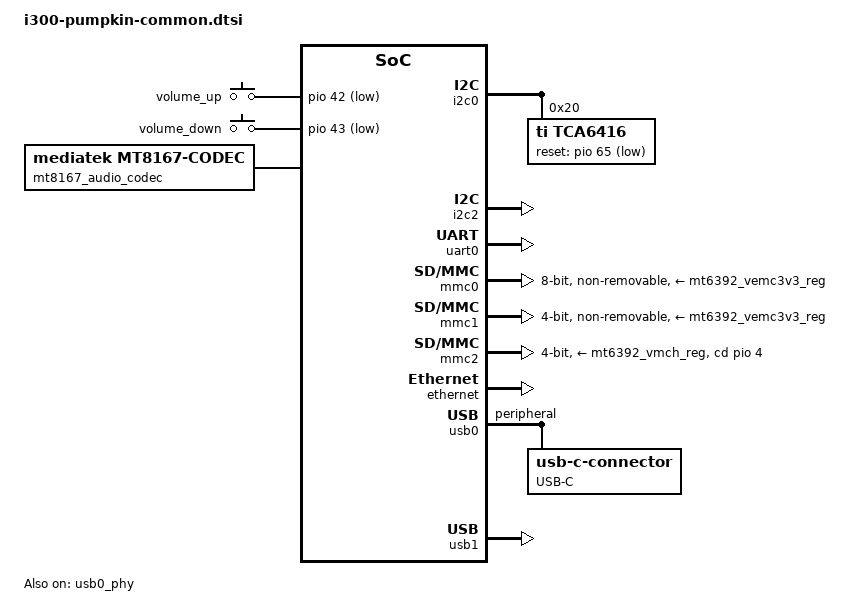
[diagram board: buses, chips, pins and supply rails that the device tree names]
// SPDX-License-Identifier: GPL-2.0
/*
 * Copyright (c) 2019 BayLibre, SAS.
 * Author: Fabien Parent <fparent@baylibre.com>
 */

#include <dt-bindings/gpio/gpio.h>

#include "mt6392.dtsi"

/ {
	aliases {
		ethernet0 = &ethernet;
		ethernet1 = &wifi;
		ethernet2 = &bluetooth;
		serial0 = &uart0;
	};

	chosen {
		stdout-path = "serial0:921600n8";
	};

	firmware {
		optee {
			compatible = "linaro,optee-tz";
			method = "smc";
		};
	};

	gpio-keys {
		compatible = "gpio-keys";
		input-name = "gpio-keys";
		pinctrl-names = "default";
		pinctrl-0 = <&gpio_keys_default>;

		volume-up {
			gpios = <&pio 42 GPIO_ACTIVE_LOW>;
			label = "volume_up";
			linux,code = <115>;
			wakeup-source;
			debounce-interval = <15>;
		};

		volume-down {
			gpios = <&pio 43 GPIO_ACTIVE_LOW>;
			label = "volume_down";
			linux,code = <114>;
			wakeup-source;
			debounce-interval = <15>;
		};
	};


	mt8167_audio_codec: mt8167_audio_codec {
		compatible = "mediatek,mt8167-codec";
		clocks = <&topckgen CLK_TOP_AUDIO>;
		clock-names = "bus";
		mediatek,afe-regmap = <&afe>;
		mediatek,apmixedsys-regmap = <&apmixedsys>;
		mediatek,pwrap-regmap = <&pwrap>;
		mediatek,speaker-mode = <0>; /* 0(CLASSD) 1(CLASSAB) */
		mediatek,dmic-wire-mode = <1>; /* 0(ONE_WIRE) 1(TWO_WIRE) */
		#sound-dai-cells = <0>;
	};

	sound: sound {
		compatible = "mediatek,mt8516-soc-pumpkin";
		mediatek,platform = <&afe>;
		status = "okay";
		dai-link-0 {
			sound-dai = <&afe>;
			dai-link-name = "MTK Codec";

			codec-0 {
				sound-dai = <&mt8167_audio_codec>;
			};
		};

		dai-link-1 {
			sound-dai = <&afe>;
			dai-link-name = "DMIC BE";

			codec-0 {
				sound-dai = <&mt8167_audio_codec>;
			};
		};
	};
};

&cpu0 {
	proc-supply = <&mt6392_vproc_reg>;
};

&cpu1 {
	proc-supply = <&mt6392_vproc_reg>;
};

&cpu2 {
	proc-supply = <&mt6392_vproc_reg>;
};

&cpu3 {
	proc-supply = <&mt6392_vproc_reg>;
};

&i2c0 {
	clock-div = <2>;
	pinctrl-names = "default";
	pinctrl-0 = <&i2c0_pins_a>;
	status = "okay";

	tca6416: gpio@20 {
		compatible = "ti,tca6416";
		reg = <0x20>;
		reset-gpios = <&pio 65 GPIO_ACTIVE_LOW>;
		pinctrl-names = "default";
		pinctrl-0 = <&tca6416_pins>;

		gpio-controller;
		#gpio-cells = <2>;

		eint20_mux_sel0 {
			gpio-hog;
			gpios = <0 0>;
			input;
			line-name = "eint20_mux_sel0";
		};

		expcon_mux_sel1 {
			gpio-hog;
			gpios = <1 0>;
			input;
			line-name = "expcon_mux_sel1";
		};

		mrg_di_mux_sel2 {
			gpio-hog;
			gpios = <2 0>;
			input;
			line-name = "mrg_di_mux_sel2";
		};

		sd_sdio_mux_sel3 {
			gpio-hog;
			gpios = <3 0>;
			input;
			line-name = "sd_sdio_mux_sel3";
		};

		sd_sdio_mux_ctrl7 {
			gpio-hog;
			gpios = <7 0>;
			output-low;
			line-name = "sd_sdio_mux_ctrl7";
		};

		hw_id0 {
			gpio-hog;
			gpios = <8 0>;
			input;
			line-name = "hw_id0";
		};

		hw_id1 {
			gpio-hog;
			gpios = <9 0>;
			input;
			line-name = "hw_id1";
		};

		hw_id2 {
			gpio-hog;
			gpios = <10 0>;
			input;
			line-name = "hw_id2";
		};

		fg_int_n {
			gpio-hog;
			gpios = <11 0>;
			input;
			line-name = "fg_int_n";
		};

		usba_pwr_en {
			gpio-hog;
			gpios = <12 0>;
			output-high;
			line-name = "usba_pwr_en";
		};

		wifi_3v3_pg {
			gpio-hog;
			gpios = <13 0>;
			input;
			line-name = "wifi_3v3_pg";
		};

		cam_rst {
			gpios = <14 0>;
			output-low;
			line-name = "cam_rst";
		};

		cam_pwdn {
			gpios = <15 0>;
			output-low;
			line-name = "cam_pwdn";
		};
	};
};

&i2c2 {
	clock-div = <2>;
	pinctrl-names = "default";
	pinctrl-0 = <&i2c2_pins_a>;
	status = "okay";
};

&mt6392_pmic {
	interrupt-parent = <&pio>;
	interrupts = <28 IRQ_TYPE_LEVEL_HIGH>;
	interrupt-controller;
	#interrupt-cells = <2>;
};

&uart0 {
	status = "okay";
};

&pio {
	pinctrl-names = "default";
	pinctrl-0 = <&state_default>;

	state_default:pinconf_default {
	};

	gpio_keys_default: gpiodefault {
		pins_cmd_dat {
			pinmux = <MT8516_PIN_42_KPCOL0__FUNC_GPIO42>,
				 <MT8516_PIN_43_KPCOL1__FUNC_GPIO43>;
			bias-pull-up;
			input-enable;
		};
	};

	i2c0_pins_a: i2c0@0 {
		pins1 {
			pinmux = <MT8516_PIN_58_SDA0__FUNC_SDA0_0>,
				 <MT8516_PIN_59_SCL0__FUNC_SCL0_0>;
			bias-disable;
		};
	};


	tca6416_pins: pinmux_tca6416_pins {
		gpio_mux_rst_n_pin {
			pinmux = <MT8516_PIN_65_UTXD1__FUNC_GPIO65>;
			output-high;
		};

		gpio_mux_int_n_pin {
			pinmux = <MT8516_PIN_64_URXD1__FUNC_GPIO64>;
			input-enable;
			bias-pull-up;
		};
	};

	mmc0_pins_default: mmc0default {
		pins_cmd_dat {
			pinmux = <MT8516_PIN_120_MSDC0_DAT0__FUNC_MSDC0_DAT0>,
				<MT8516_PIN_119_MSDC0_DAT1__FUNC_MSDC0_DAT1>,
				<MT8516_PIN_118_MSDC0_DAT2__FUNC_MSDC0_DAT2>,
				<MT8516_PIN_117_MSDC0_DAT3__FUNC_MSDC0_DAT3>,
				<MT8516_PIN_113_MSDC0_DAT4__FUNC_MSDC0_DAT4>,
				<MT8516_PIN_112_MSDC0_DAT5__FUNC_MSDC0_DAT5>,
				<MT8516_PIN_111_MSDC0_DAT6__FUNC_MSDC0_DAT6>,
				<MT8516_PIN_110_MSDC0_DAT7__FUNC_MSDC0_DAT7>,
				<MT8516_PIN_115_MSDC0_CMD__FUNC_MSDC0_CMD>;
			input-enable;
			bias-pull-up;
		};

		pins_clk {
			pinmux = <MT8516_PIN_116_MSDC0_CLK__FUNC_MSDC0_CLK>;
			bias-pull-down;
		};

		pins_rst {
			pinmux = <MT8516_PIN_114_MSDC0_RSTB__FUNC_MSDC0_RSTB>;
			bias-pull-up;
		};
	};

	mmc0_pins_uhs: mmc0@0{
		pins_cmd_dat {
			pinmux = <MT8516_PIN_120_MSDC0_DAT0__FUNC_MSDC0_DAT0>,
				<MT8516_PIN_119_MSDC0_DAT1__FUNC_MSDC0_DAT1>,
				<MT8516_PIN_118_MSDC0_DAT2__FUNC_MSDC0_DAT2>,
				<MT8516_PIN_117_MSDC0_DAT3__FUNC_MSDC0_DAT3>,
				<MT8516_PIN_113_MSDC0_DAT4__FUNC_MSDC0_DAT4>,
				<MT8516_PIN_112_MSDC0_DAT5__FUNC_MSDC0_DAT5>,
				<MT8516_PIN_111_MSDC0_DAT6__FUNC_MSDC0_DAT6>,
				<MT8516_PIN_110_MSDC0_DAT7__FUNC_MSDC0_DAT7>,
				<MT8516_PIN_115_MSDC0_CMD__FUNC_MSDC0_CMD>;
			input-enable;
			drive-strength = <MTK_DRIVE_6mA>;
			bias-pull-up = <MTK_PUPD_SET_R1R0_01>;
		};

		pins_clk {
			pinmux = <MT8516_PIN_116_MSDC0_CLK__FUNC_MSDC0_CLK>;
			drive-strength = <MTK_DRIVE_8mA>;
			bias-pull-down = <MTK_PUPD_SET_R1R0_10>;
		};

		pins_rst {
			pinmux = <MT8516_PIN_114_MSDC0_RSTB__FUNC_MSDC0_RSTB>;
			bias-pull-up;
		};
	};

	mmc1_pins_default: mmc1default {
		pins_cmd_dat {
			pinmux = <MT8516_PIN_106_MSDC1_DAT0__FUNC_MSDC1_DAT0>,
				 <MT8516_PIN_107_MSDC1_DAT1__FUNC_MSDC1_DAT1>,
				 <MT8516_PIN_108_MSDC1_DAT2__FUNC_MSDC1_DAT2>,
				 <MT8516_PIN_109_MSDC1_DAT3__FUNC_MSDC1_DAT3>,
				 <MT8516_PIN_104_MSDC1_CMD__FUNC_MSDC1_CMD>;
			input-enable;
			drive-strength = <MTK_DRIVE_6mA>;
			bias-pull-up = <MTK_PUPD_SET_R1R0_01>;
		};

		pins_clk {
			pinmux = <MT8516_PIN_105_MSDC1_CLK__FUNC_MSDC1_CLK>;
			drive-strength = <MTK_DRIVE_6mA>;
			bias-pull-down = <MTK_PUPD_SET_R1R0_10>;
		};

		pins_wifi_pwr_en {
			pinmux = <MT8516_PIN_41_KPROW1__FUNC_GPIO41>;
			output-low;
		};

		pins_pmu_en {
			pinmux = <MT8516_PIN_40_KPROW0__FUNC_GPIO40>;
			output-low;
		};
	};

	mmc1_pins_uhs: mmc1@0 {
		pins_cmd_dat {
			pinmux = <MT8516_PIN_106_MSDC1_DAT0__FUNC_MSDC1_DAT0>,
				 <MT8516_PIN_107_MSDC1_DAT1__FUNC_MSDC1_DAT1>,
				 <MT8516_PIN_108_MSDC1_DAT2__FUNC_MSDC1_DAT2>,
				 <MT8516_PIN_109_MSDC1_DAT3__FUNC_MSDC1_DAT3>,
				 <MT8516_PIN_104_MSDC1_CMD__FUNC_MSDC1_CMD>;
			input-enable;
			drive-strength = <MTK_DRIVE_6mA>;
			bias-pull-up = <MTK_PUPD_SET_R1R0_01>;
		};

		pins_clk {
			pinmux = <MT8516_PIN_105_MSDC1_CLK__FUNC_MSDC1_CLK>;
			drive-strength = <MTK_DRIVE_8mA>;
			bias-pull-down = <MTK_PUPD_SET_R1R0_10>;
		};


		pins_wifi_pwr_en {
			pinmux = <MT8516_PIN_41_KPROW1__FUNC_GPIO41>;
			output-high;
		};

		pins_pmu_en {
			pinmux = <MT8516_PIN_40_KPROW0__FUNC_GPIO40>;
			output-high;
		};
	};

	mmc2_pins_default: mmc2default {
		pins_cmd_dat {
			pinmux = <MT8516_PIN_70_MSDC2_DAT0__FUNC_MSDC2_DAT0>,
				 <MT8516_PIN_71_MSDC2_DAT1__FUNC_MSDC2_DAT1>,
				 <MT8516_PIN_72_MSDC2_DAT2__FUNC_MSDC2_DAT2>,
				 <MT8516_PIN_73_MSDC2_DAT3__FUNC_MSDC2_DAT3>,
				 <MT8516_PIN_68_MSDC2_CMD__FUNC_MSDC2_CMD>;
			input-enable;
			bias-pull-up = <MTK_PUPD_SET_R1R0_01>;
		};

		pins_clk {
			pinmux = <MT8516_PIN_69_MSDC2_CLK__FUNC_MSDC2_CLK>;
			bias-pull-down = <MTK_PUPD_SET_R1R0_10>;
		};

		pin_cd {
			pinmux = <MT8516_PIN_4_EINT4__FUNC_GPIO4>;
			bias-pull-up;
		};
	};

	mmc2_pins_uhs: mmc2@0 {
		pins_cmd_dat {
			pinmux = <MT8516_PIN_70_MSDC2_DAT0__FUNC_MSDC2_DAT0>,
				 <MT8516_PIN_71_MSDC2_DAT1__FUNC_MSDC2_DAT1>,
				 <MT8516_PIN_72_MSDC2_DAT2__FUNC_MSDC2_DAT2>,
				 <MT8516_PIN_73_MSDC2_DAT3__FUNC_MSDC2_DAT3>,
				 <MT8516_PIN_68_MSDC2_CMD__FUNC_MSDC2_CMD>;
			input-enable;
			drive-strength = <MTK_DRIVE_6mA>;
			bias-pull-up = <MTK_PUPD_SET_R1R0_01>;
		};

		pins_clk {
			pinmux = <MT8516_PIN_69_MSDC2_CLK__FUNC_MSDC2_CLK>;
			drive-strength = <MTK_DRIVE_8mA>;
			bias-pull-down = <MTK_PUPD_SET_R1R0_10>;
		};
	};

	ethernet_pins_default: ethernet {
		pins_ethernet {
			pinmux = <MT8516_PIN_0_EINT0__FUNC_EXT_TXD0>,
				 <MT8516_PIN_1_EINT1__FUNC_EXT_TXD1>,
				 <MT8516_PIN_5_EINT5__FUNC_EXT_RXER>,
				 <MT8516_PIN_6_EINT6__FUNC_EXT_RXC>,
				 <MT8516_PIN_7_EINT7__FUNC_EXT_RXDV>,
				 <MT8516_PIN_8_EINT8__FUNC_EXT_RXD0>,
				 <MT8516_PIN_9_EINT9__FUNC_EXT_RXD1>,
				 <MT8516_PIN_12_EINT12__FUNC_EXT_TXEN>,
				 <MT8516_PIN_38_MRG_DI__FUNC_EXT_MDIO>,
				 <MT8516_PIN_39_MRG_DO__FUNC_EXT_MDC>;
		};
	};

	usb1_default_pins: usb1_pins {
	};

	spi_pins_a: spi@0 {
		pins1 {
			pinmux = <MT8516_PIN_49_SPI_CK__FUNC_SPI_CLK>,
				 <MT8516_PIN_51_SPI_MO__FUNC_SPI_MO>;
			bias-disable;
		};
	};

	i2c2_pins_a: i2c2@0 {
		pins1 {
			pinmux = <MT8516_PIN_60_SDA2__FUNC_SDA2_0>,
				 <MT8516_PIN_61_SCL2__FUNC_SCL2_0>;
			bias-disable;
		};
	};
};

&mmc0 {
	pinctrl-names = "default", "state_uhs";
	pinctrl-0 = <&mmc0_pins_default>;
	pinctrl-1 = <&mmc0_pins_uhs>;
	status = "okay";
	bus-width = <8>;
	max-frequency = <200000000>;
	cap-mmc-highspeed;
	mmc-hs200-1_8v;
	cap-mmc-hw-reset;
	vmmc-supply = <&mt6392_vemc3v3_reg>;
	vqmmc-supply = <&mt6392_vio18_reg>;
	non-removable;
};

&mmc1 {
	pinctrl-names = "default", "state_uhs";
	pinctrl-0 = <&mmc1_pins_default>;
	pinctrl-1 = <&mmc1_pins_uhs>;
	bus-width = <4>;
	max-frequency = <200000000>;
	cap-sd-highspeed;
	sd-uhs-sdr50;
	sd-uhs-sdr104;
	keep-power-in-suspend;
	enable-sdio-wakeup;
	cap-sdio-irq;
	vmmc-supply = <&mt6392_vemc3v3_reg>;
	vqmmc-supply = <&mt6392_vio18_reg>;
	non-removable;
	status = "okay";

	mt7668 {
		wifi: mt7668-wifi@0 {
			compatible = "mediatek,mt8516-wifi",
				     "mediatek,mt7668-wifi";
			mac-address = [00 00 00 00 00 00];
		};

		bluetooth: mt7668-bluetooth@0 {
			compatible = "mediatek,mt8516-bluetooth",
				     "mediatek,mt7668-bluetooth";
			mac-address = [00 00 00 00 00 00];
		};
	};
};

&mmc2 {
	pinctrl-names = "default", "state_uhs";
	pinctrl-0 = <&mmc2_pins_default>;
	pinctrl-1 = <&mmc2_pins_uhs>;
	cd-gpios = <&pio 4 GPIO_ACTIVE_HIGH>;
	bus-width = <4>;
	max-frequency = <200000000>;
	cap-sd-highspeed;
	sd-uhs-sdr50;
	sd-uhs-sdr104;
	vmmc-supply = <&mt6392_vmch_reg>;
	vqmmc-supply = <&mt6392_vio18_reg>;
	status = "okay";
};

&mt6392_vmc_reg {
	/* to power on U9737 which is needed for SD card support */
	regulator-always-on;
};

&ethernet {
	pinctrl-names = "default";
	pinctrl-0 = <&ethernet_pins_default>;
	eth-gpios = <&pio 13 GPIO_ACTIVE_HIGH>;
	eth-regulator-supply = <&mt6392_vmch_reg>;
	mac-address = [00 00 00 00 00 00];
	status = "okay";
};

&usb0 {
	status = "okay";
	dr_mode = "peripheral";

	usb_con: connector {
		compatible = "usb-c-connector";
		label = "USB-C";
	};
};

&usb0_phy {
	status = "okay";
};

&usb1 {
	pinctrl-names = "default";
	pinctrl-0 = <&usb1_default_pins>;
	status = "okay";
};

&afe {
	/* 0(HDMI) 1(I2S) 2(TDM) */
	mediatek,tdm-out-mode = <1>;
	/* 0(IR1) 1(IRQ2) 4(IRQ7)*/
	mediatek,awb-irq-mode = <4>;
	/*0(Spearated Mode) 1(Share Mode)*/
	mediatek,i2s-clock-modes = <1 1>;
};

&spi {
	pinctrl-names = "default";
	pinctrl-0 = <&spi_pins_a>;
};
